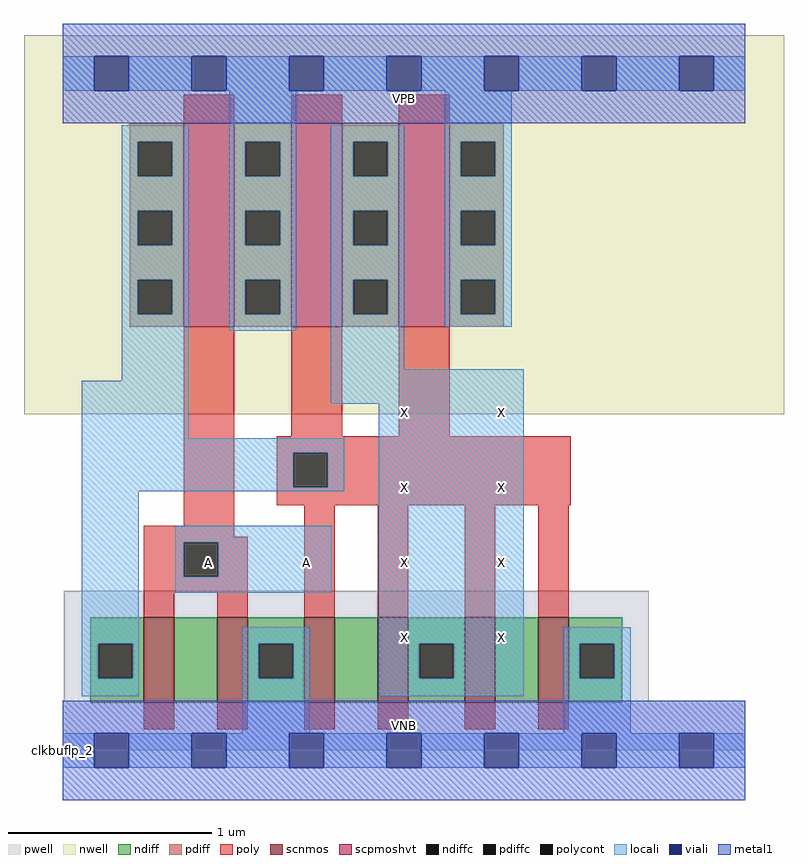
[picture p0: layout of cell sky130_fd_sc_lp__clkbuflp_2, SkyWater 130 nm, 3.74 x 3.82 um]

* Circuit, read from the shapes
.subckt sky130_fd_sc_lp__clkbuflp_2 A VGND VNB VPB VPWR X
XM1 n1 A n2 VNB sky130_fd_pr__nfet_01v8 w=0.42 l=0.15
XM2 VGND A n1 VNB sky130_fd_pr__nfet_01v8 w=0.42 l=0.15
XM3 n3 n2 VGND VNB sky130_fd_pr__nfet_01v8 w=0.42 l=0.15
XM4 X n2 n3 VNB sky130_fd_pr__nfet_01v8 w=0.42 l=0.15
XM5 n4 n2 X VNB sky130_fd_pr__nfet_01v8 w=0.42 l=0.15
XM6 VGND n2 n4 VNB sky130_fd_pr__nfet_01v8 w=0.42 l=0.15
XM7 VPWR A n2 VPB sky130_fd_pr__pfet_01v8_hvt w=1 l=0.25
XM8 X n2 VPWR VPB sky130_fd_pr__pfet_01v8_hvt w=1 l=0.25 m=2
.ends

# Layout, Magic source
magic
tech sky130A
magscale 1 2
<< nwell >>
rect -38 331 710 704
<< pwell >>
rect 1 49 577 157
rect 0 0 672 49
<< scnmos >>
rect 80 47 110 131
rect 152 47 182 131
rect 238 47 268 131
rect 310 47 340 131
rect 396 47 426 131
rect 468 47 498 131
<< scpmoshvt >>
rect 119 417 169 617
rect 225 417 275 617
rect 331 417 381 617
<< ndiff >>
rect 27 105 80 131
rect 27 71 35 105
rect 69 71 80 105
rect 27 47 80 71
rect 110 47 152 131
rect 182 105 238 131
rect 182 71 193 105
rect 227 71 238 105
rect 182 47 238 71
rect 268 47 310 131
rect 340 105 396 131
rect 340 71 351 105
rect 385 71 396 105
rect 340 47 396 71
rect 426 47 468 131
rect 498 105 551 131
rect 498 71 509 105
rect 543 71 551 105
rect 498 47 551 71
<< pdiff >>
rect 66 599 119 617
rect 66 565 74 599
rect 108 565 119 599
rect 66 531 119 565
rect 66 497 74 531
rect 108 497 119 531
rect 66 463 119 497
rect 66 429 74 463
rect 108 429 119 463
rect 66 417 119 429
rect 169 599 225 617
rect 169 565 180 599
rect 214 565 225 599
rect 169 531 225 565
rect 169 497 180 531
rect 214 497 225 531
rect 169 463 225 497
rect 169 429 180 463
rect 214 429 225 463
rect 169 417 225 429
rect 275 599 331 617
rect 275 565 286 599
rect 320 565 331 599
rect 275 531 331 565
rect 275 497 286 531
rect 320 497 331 531
rect 275 463 331 497
rect 275 429 286 463
rect 320 429 331 463
rect 275 417 331 429
rect 381 599 434 617
rect 381 565 392 599
rect 426 565 434 599
rect 381 531 434 565
rect 381 497 392 531
rect 426 497 434 531
rect 381 463 434 497
rect 381 429 392 463
rect 426 429 434 463
rect 381 417 434 429
<< ndiffc >>
rect 35 71 69 105
rect 193 71 227 105
rect 351 71 385 105
rect 509 71 543 105
<< pdiffc >>
rect 74 565 108 599
rect 74 497 108 531
rect 74 429 108 463
rect 180 565 214 599
rect 180 497 214 531
rect 180 429 214 463
rect 286 565 320 599
rect 286 497 320 531
rect 286 429 320 463
rect 392 565 426 599
rect 392 497 426 531
rect 392 429 426 463
<< poly >>
rect 119 617 169 645
rect 225 617 275 645
rect 331 617 381 645
rect 119 221 169 417
rect 225 309 275 417
rect 331 309 381 417
rect 211 293 500 309
rect 211 259 227 293
rect 261 259 500 293
rect 211 241 500 259
rect 80 210 169 221
rect 80 205 182 210
rect 80 171 119 205
rect 153 171 182 205
rect 80 155 182 171
rect 80 131 110 155
rect 152 131 182 155
rect 238 131 268 241
rect 310 131 340 241
rect 396 131 426 241
rect 468 131 498 241
rect 80 21 110 47
rect 152 21 182 47
rect 238 21 268 47
rect 310 21 340 47
rect 396 21 426 47
rect 468 21 498 47
<< polycont >>
rect 227 259 261 293
rect 119 171 153 205
<< locali >>
rect 0 649 31 683
rect 65 649 127 683
rect 161 649 223 683
rect 257 649 319 683
rect 353 649 415 683
rect 449 649 511 683
rect 545 649 607 683
rect 641 649 672 683
rect 58 599 124 615
rect 58 565 74 599
rect 108 565 124 599
rect 58 531 124 565
rect 58 497 74 531
rect 108 497 124 531
rect 58 463 124 497
rect 58 429 74 463
rect 108 429 124 463
rect 58 364 124 429
rect 164 599 230 649
rect 164 565 180 599
rect 214 565 230 599
rect 164 531 230 565
rect 164 497 180 531
rect 214 497 230 531
rect 164 463 230 497
rect 164 429 180 463
rect 214 429 230 463
rect 164 413 230 429
rect 264 599 336 615
rect 264 565 286 599
rect 320 565 336 599
rect 264 531 336 565
rect 264 497 286 531
rect 320 497 336 531
rect 264 463 336 497
rect 264 429 286 463
rect 320 429 336 463
rect 19 307 124 364
rect 264 375 336 429
rect 376 599 442 649
rect 376 565 392 599
rect 426 565 442 599
rect 376 531 442 565
rect 376 497 392 531
rect 426 497 442 531
rect 376 463 442 497
rect 376 429 392 463
rect 426 429 442 463
rect 376 417 442 429
rect 264 341 454 375
rect 19 293 277 307
rect 19 259 227 293
rect 261 259 277 293
rect 19 255 277 259
rect 19 105 75 255
rect 111 205 265 221
rect 111 171 119 205
rect 153 171 265 205
rect 111 155 265 171
rect 19 71 35 105
rect 69 71 75 105
rect 19 53 75 71
rect 177 105 243 121
rect 177 71 193 105
rect 227 71 243 105
rect 177 17 243 71
rect 311 105 454 341
rect 311 71 351 105
rect 385 71 454 105
rect 311 53 454 71
rect 493 105 559 121
rect 493 71 509 105
rect 543 71 559 105
rect 493 17 559 71
rect 0 -17 31 17
rect 65 -17 127 17
rect 161 -17 223 17
rect 257 -17 319 17
rect 353 -17 415 17
rect 449 -17 511 17
rect 545 -17 607 17
rect 641 -17 672 17
<< viali >>
rect 31 649 65 683
rect 127 649 161 683
rect 223 649 257 683
rect 319 649 353 683
rect 415 649 449 683
rect 511 649 545 683
rect 607 649 641 683
rect 31 -17 65 17
rect 127 -17 161 17
rect 223 -17 257 17
rect 319 -17 353 17
rect 415 -17 449 17
rect 511 -17 545 17
rect 607 -17 641 17
<< metal1 >>
rect 0 683 672 715
rect 0 649 31 683
rect 65 649 127 683
rect 161 649 223 683
rect 257 649 319 683
rect 353 649 415 683
rect 449 649 511 683
rect 545 649 607 683
rect 641 649 672 683
rect 0 617 672 649
rect 0 17 672 49
rect 0 -17 31 17
rect 65 -17 127 17
rect 161 -17 223 17
rect 257 -17 319 17
rect 353 -17 415 17
rect 449 -17 511 17
rect 545 -17 607 17
rect 641 -17 672 17
rect 0 -49 672 -17
<< labels >>
flabel pwell s 0 0 672 49 0 FreeSans 200 0 0 0 VNB
port 3 nsew ground bidirectional
flabel nwell s 0 617 672 666 0 FreeSans 200 0 0 0 VPB
port 4 nsew power bidirectional
rlabel comment s 0 0 0 0 4 clkbuflp_2
flabel metal1 s 0 617 672 666 0 FreeSans 340 0 0 0 VPWR
port 5 nsew power bidirectional
flabel metal1 s 0 0 672 49 0 FreeSans 340 0 0 0 VGND
port 2 nsew ground bidirectional
flabel locali s 319 94 353 128 0 FreeSans 340 0 0 0 X
port 6 nsew signal output
flabel locali s 127 168 161 202 0 FreeSans 340 0 0 0 A
port 1 nsew signal input
flabel locali s 223 168 257 202 0 FreeSans 340 0 0 0 A
port 1 nsew signal input
flabel locali s 415 316 449 350 0 FreeSans 340 0 0 0 X
port 6 nsew signal output
flabel locali s 415 94 449 128 0 FreeSans 340 0 0 0 X
port 6 nsew signal output
flabel locali s 415 168 449 202 0 FreeSans 340 0 0 0 X
port 6 nsew signal output
flabel locali s 415 242 449 276 0 FreeSans 340 0 0 0 X
port 6 nsew signal output
flabel locali s 319 316 353 350 0 FreeSans 340 0 0 0 X
port 6 nsew signal output
flabel locali s 319 242 353 276 0 FreeSans 340 0 0 0 X
port 6 nsew signal output
flabel locali s 319 168 353 202 0 FreeSans 340 0 0 0 X
port 6 nsew signal output
<< properties >>
string LEFsite unit
string LEFclass CORE
string FIXED_BBOX 0 0 672 666
string GDS_FILE $PDKPATH/libs.ref/sky130_fd_sc_lp/gds/sky130_fd_sc_lp.gds
string LEFsymmetry X Y R90
string GDS_END 5393896
string GDS_START 5388348
<< end >>
